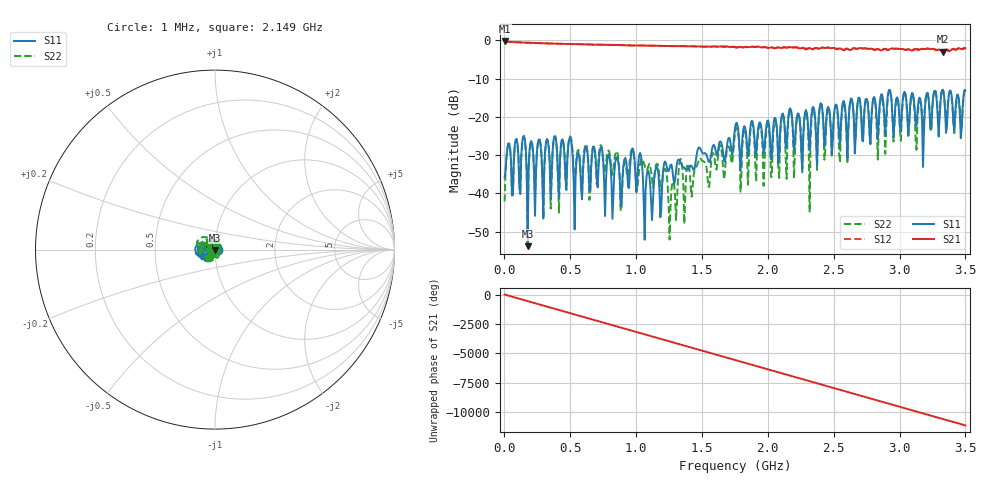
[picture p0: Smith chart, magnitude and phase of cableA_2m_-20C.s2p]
# GHZ S RI R 50.000000000000
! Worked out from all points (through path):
!   501 points, 1 MHz to 3.5 GHz, reference 50 ohm
!   highest |S21| = -0.10 dB at 1 MHz (marker M1); lowest = -2.9 dB at 3.332 GHz (marker M2)
!   group delay of S21, straight-line fit = 8.81 ns
!   lowest |S11| = -53.8 dB at 175.9 MHz (marker M3), VSWR 1.00, Z = 50 - j0.201 ohm
!   |S11| at or under -10 dB: start of sweep to end of sweep
!   |S22| runs from -52.0 to -12.6 dB; largest |S21 - S12| = 0.056
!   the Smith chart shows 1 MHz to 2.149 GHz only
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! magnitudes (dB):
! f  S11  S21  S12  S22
! 1 MHz  -35.8  -0.1  0.0  -42.1
! 28.99 MHz  -26.9  -0.3  -0.3  -27.1
! 148 MHz  -24.9  -0.6  -0.5  -25.1
! 175.9 MHz  -53.8  -0.6  -0.6  -50.5
! 378.9 MHz  -25.1  -0.8  -0.8  -25.1
! 588.8 MHz  -41.5  -1.0  -1.0  -40.4
! 889.7 MHz  -41.6  -1.2  -1.2  -43.5
! 973.7 MHz  -28.2  -1.3  -1.3  -28.5
! 1.17 GHz  -35.2  -1.4  -1.4  -33.3
! 1.254 GHz  -33.4  -1.4  -1.5  -52.0
! 1.338 GHz  -31.9  -1.5  -1.4  -30.9
! 1.366 GHz  -33.2  -1.5  -1.5  -48.0
! 1.75 GHz  -22.9  -1.7  -1.8  -24.4
! 2.023 GHz  -31.1  -1.8  -1.8  -35.7
! 2.17 GHz  -17.7  -1.7  -1.7  -17.9
! 2.317 GHz  -28.7  -2.0  -2.1  -44.9
! 2.338 GHz  -17.6  -2.3  -2.3  -18.5
! 2.835 GHz  -25.8  -2.2  -2.2  -31.1
! 2.919 GHz  -13.0  -2.4  -2.2  -13.4
! 3.178 GHz  -33.1  -2.2  -2.2  -22.4
! 3.332 GHz  -13.2  -2.9  -2.6  -13.0
! 3.5 GHz  -13.0  -2.0  -2.2  -12.8
